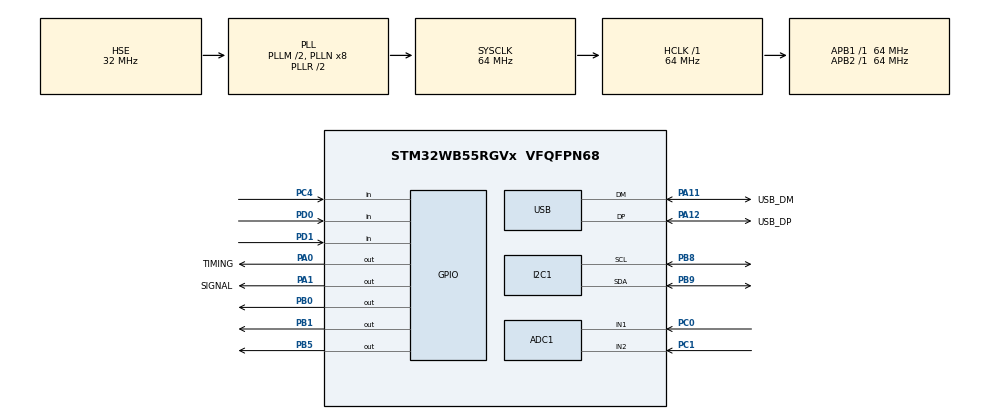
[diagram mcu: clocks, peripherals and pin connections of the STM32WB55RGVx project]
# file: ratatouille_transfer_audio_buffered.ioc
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ADC1.Channel-0\#ChannelRegularConversion=ADC_CHANNEL_1
ADC1.Channel-1\#ChannelRegularConversion=ADC_CHANNEL_2
ADC1.ClockPrescaler=ADC_CLOCK_SYNC_PCLK_DIV1
ADC1.ContinuousConvMode=ENABLE
ADC1.DMAContinuousRequests=ENABLE
ADC1.NbrOfConversion=2
ADC1.NbrOfConversionFlag=1
ADC1.OffsetNumber-0\#ChannelRegularConversion=ADC_OFFSET_NONE
ADC1.OffsetNumber-1\#ChannelRegularConversion=ADC_OFFSET_NONE
ADC1.Rank-0\#ChannelRegularConversion=1
ADC1.Rank-1\#ChannelRegularConversion=2
ADC1.SamplingTime-0\#ChannelRegularConversion=ADC_SAMPLETIME_247CYCLES_5
ADC1.SamplingTime-1\#ChannelRegularConversion=ADC_SAMPLETIME_247CYCLES_5
ADC1.master=1
Dma.ADC1.0.Direction=DMA_PERIPH_TO_MEMORY
Dma.ADC1.0.EventEnable=DISABLE
Dma.ADC1.0.Instance=DMA1_Channel1
Dma.ADC1.0.MemDataAlignment=DMA_MDATAALIGN_HALFWORD
Dma.ADC1.0.MemInc=DMA_MINC_ENABLE
Dma.ADC1.0.Mode=DMA_CIRCULAR
Dma.ADC1.0.PeriphDataAlignment=DMA_PDATAALIGN_HALFWORD
Dma.ADC1.0.PeriphInc=DMA_PINC_DISABLE
Dma.ADC1.0.Polarity=HAL_DMAMUX_REQ_GEN_RISING
Dma.ADC1.0.Priority=DMA_PRIORITY_LOW
Dma.ADC1.0.RequestNumber=1
Dma.ADC1.0.SignalID=NONE
Dma.ADC1.0.SyncEnable=DISABLE
Dma.ADC1.0.SyncPolarity=HAL_DMAMUX_SYNC_NO_EVENT
Dma.ADC1.0.SyncRequestNumber=1
Dma.ADC1.0.SyncSignalID=NONE
Dma.Request0=ADC1
I2C1.Timing=0x10B17DB5
Mcu.Family=STM32WB
Mcu.Name=STM32WB55RGVx
Mcu.Package=VFQFPN68
NUCLEO-WB55RG.BUTTON=1
NUCLEO-WB55RG.BUTTON2=1
NUCLEO-WB55RG.BUTTON3=1
NUCLEO-WB55RG.LD1=true
NUCLEO-WB55RG.LD2=true
NUCLEO-WB55RG.LD3=true
NUCLEO-WB55RG.VCP=true
NVIC.ADC1_IRQn=true\:2\:0\:true\:false\:true\:true\:true\:true
NVIC.DMA1_Channel1_IRQn=true\:0\:0\:false\:false\:true\:false\:true\:true
NVIC.EXTI0_IRQn=true\:3\:0\:true\:false\:true\:false\:true\:true
NVIC.EXTI1_IRQn=true\:3\:0\:true\:false\:true\:false\:true\:true
NVIC.EXTI4_IRQn=true\:3\:0\:true\:false\:true\:false\:true\:true
NVIC.I2C1_ER_IRQn=true\:0\:0\:false\:false\:true\:true\:true\:true
NVIC.I2C1_EV_IRQn=true\:0\:0\:false\:false\:true\:true\:true\:true
NVIC.PriorityGroup=NVIC_PRIORITYGROUP_4
NVIC.TIM2_IRQn=true\:0\:0\:false\:false\:true\:true\:true\:true
NVIC.USB_HP_IRQn=true\:0\:0\:false\:false\:true\:true\:true\:true
NVIC.USB_LP_IRQn=true\:0\:0\:false\:false\:true\:true\:true\:true
OSC_IN.GPIO_Label=RCC_OSC_IN
OSC_IN.Mode=HSE-External-Oscillator
OSC_IN.Signal=RCC_OSC_IN
OSC_OUT.GPIO_Label=RCC_OSC_OUT
OSC_OUT.Mode=HSE-External-Oscillator
OSC_OUT.Signal=RCC_OSC_OUT
PA0.GPIO_Label=TIMING
PA0.GPIO_Speed=GPIO_SPEED_FREQ_MEDIUM
PA0.Signal=GPIO_Output
PA1.GPIO_Label=SIGNAL
PA1.Signal=GPIO_Output
PA11.GPIO_Label=USB_DM
PA11.Mode=Device
PA11.Signal=USB_DM
PA12.GPIO_Label=USB_DP
PA12.Mode=Device
PA12.Signal=USB_DP
PA13.GPIO_Label=JTMS
PA13.Signal=SYS_JTMS-SWDIO
PA14.GPIO_Label=JTCK
PA14.Signal=SYS_JTCK-SWCLK
PB0.Signal=GPIO_Output
PB1.Signal=GPIO_Output
PB3.GPIO_Label=JTDO
PB3.Signal=SYS_JTDO-SWO
PB5.Signal=GPIO_Output
PB6.Signal=USART1_TX
PB7.Signal=USART1_RX
PB8.Mode=I2C
PB8.Signal=I2C1_SCL
PB9.Mode=I2C
PB9.Signal=I2C1_SDA
PC0.Signal=ADCx_IN1
PC1.Signal=ADCx_IN2
PC13.GPIO_Label=SYS_WKUP2
PC13.Signal=SYS_WKUP2
PC14-OSC32_IN.GPIO_Label=RCC_OSC32_IN
PC14-OSC32_IN.Mode=LSE-External-Oscillator
PC14-OSC32_IN.Signal=RCC_OSC32_IN
PC15-OSC32_OUT.GPIO_Label=RCC_OSC32_OUT
PC15-OSC32_OUT.Mode=LSE-External-Oscillator
PC15-OSC32_OUT.Signal=RCC_OSC32_OUT
PC4.Signal=GPIO_Input
PD0.Signal=GPIO_Input
PD1.Signal=GPIO_Input
ProjectManager.HeapSize=0x200
ProjectManager.StackSize=0x400
ProjectManager.TargetToolchain=STM32CubeIDE
RCC.ADCFreq_Value=48000000
RCC.AHB2CLKDivider=RCC_SYSCLK_DIV2
RCC.AHBFreq_Value=64000000
RCC.APB1Freq_Value=64000000
RCC.APB1TimFreq_Value=64000000
RCC.APB2Freq_Value=64000000
RCC.APB2TimFreq_Value=64000000
RCC.APB3Freq_Value=16000000
RCC.Cortex2_Div=SYSTICK_CLKSOURCE_HCLK_DIV8
RCC.CortexFreq_Value=64000000
RCC.HCLKFreq_Value=64000000
RCC.HSE_VALUE=32000000
RCC.HSI48_VALUE=48000000
RCC.HSI_VALUE=16000000
RCC.PLLM=RCC_PLLM_DIV2
RCC.PLLSAI1N=6
RCC.PLLSourceVirtual=RCC_PLLSOURCE_HSE
RCC.SMPSCLockSelection=RCC_SMPSCLKSOURCE_HSI
RCC.SMPSCLockSelectionVirtual=RCC_SMPSCLKSOURCE_HSI
RCC.SMPSCLockSelectionVirtualVirtual=RCC_SMPSCLKSOURCE_HSI
RCC.SMPSDivider=1
RCC.SYSCLKFreq_VALUE=64000000
RCC.SYSCLKSource=RCC_SYSCLKSOURCE_PLLCLK
RCC.USBFreq_Value=48000000
RCC.VCOOutputFreq_Value=128000000
SH.ADCx_IN1.0=ADC1_IN1,IN1-Single-Ended
SH.ADCx_IN2.0=ADC1_IN2,IN2-Single-Ended
TIM2.AutoReloadPreload=TIM_AUTORELOAD_PRELOAD_ENABLE
TIM2.CounterMode=TIM_COUNTERMODE_UP
TIM2.Period=2000-1
TIM2.Prescaler=0
TIM2.TIM_MasterOutputTrigger=TIM_TRGO_UPDATE
USB_DEVICE.CLASS_NAME_FS=CDC
USB_DEVICE.USBD_DEBUG_LEVEL=2
USB_DEVICE.VirtualMode=Cdc
USB_DEVICE.VirtualModeFS=Cdc_FS
VP_MEMORYMAP_VS_MEMORYMAP.Mode=CurAppReg
VP_NUCLEO-WB55RG_VS_BSP_COMMON.Mode=COMMON
VP_TIM2_VS_ClockSourceINT.Mode=Internal
VP_USB_DEVICE_VS_USB_DEVICE_CDC_FS.Mode=CDC_FS
board=NUCLEO-WB55RG

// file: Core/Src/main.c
/* USER CODE BEGIN Header */
/**
  ******************************************************************************
  * @file           : main.c
  * @brief          : Main program body
  ******************************************************************************
  * @attention
  *
  * Copyright (c) 2024 STMicroelectronics.
  * All rights reserved.
  *
  * This software is licensed under terms that can be found in the LICENSE file
  * in the root directory of this software component.
  * If no LICENSE file comes with this software, it is provided AS-IS.
  *
  ******************************************************************************
  */
/* USER CODE END Header */
#include "main.h"
#include "usb_device.h"

/* USER CODE BEGIN Includes */
#include <stdio.h>
#include <stdint.h>
#include <string.h>
#include "usbd_cdc_if.h"
#include "bmi160_wrapper.h"
/* USER CODE END Includes */

COM_InitTypeDef BspCOMInit;
ADC_HandleTypeDef hadc1;
DMA_HandleTypeDef hdma_adc1;

I2C_HandleTypeDef hi2c1;

TIM_HandleTypeDef htim2;

/* USER CODE BEGIN PV */

/* Analog */
uint16_t counter = 0;
uint16_t mic = 0;
uint16_t mic2 = 0;
uint16_t rawValues[2];
/* Analog END */

/* USB */
uint8_t message[] = "USB VCP Test\n";
uint8_t flag = 0;
char msg[50];

uint8_t USB_buffer[512];
size_t packet_length = 0;
/* USB END */
/* USER CODE END PV */

void SystemClock_Config(void);
void PeriphCommonClock_Config(void);
static void MX_GPIO_Init(void);
static void MX_DMA_Init(void);
static void MX_ADC1_Init(void);
static void MX_TIM2_Init(void);
static void MX_I2C1_Init(void);
/* USER CODE BEGIN PFP */
void update_data_packet_audio_buffered(uint16_t var1, uint8_t *buffer, size_t *length);
/* USER CODE END PFP */

/* USER CODE BEGIN 0 */
void HAL_TIM_PeriodElapsedCallback(TIM_HandleTypeDef *htim2)
  {
	HAL_GPIO_TogglePin(TIMING_GPIO_Port, TIMING_Pin);
	////this updates the X and Y axes of my joystick
	  for(uint8_t i = 0; i<hadc1.Init.NbrOfConversion; i++){
		  mic = (uint16_t) rawValues[0];
		  mic2 = mic;
	  }
	  flag = 1;

	  //HAL_GPIO_TogglePin(LED_GREEN_GPIO_Port,LED_GREEN_Pin);
  }
/* USER CODE END 0 */

int main(void)
{

  /* MCU Configuration--------------------------------------------------------*/

  /* Reset of all peripherals, Initializes the Flash interface and the Systick. */
  HAL_Init();

  /* Configure the system clock */
  SystemClock_Config();

  /* Configure the peripherals common clocks */
  PeriphCommonClock_Config();

  /* Initialize all configured peripherals */
  MX_GPIO_Init();
  MX_DMA_Init();
  MX_ADC1_Init();
  MX_TIM2_Init();
  MX_USB_Device_Init();
  MX_I2C1_Init();
  /* USER CODE BEGIN 2 */
  ////This begins the process of storing our ADC readings into the DMA. The DMA can be thought of a temporary storage location.
  HAL_ADC_Start_DMA(&hadc1, (uint32_t *) rawValues, 2);
    ////This begins our timer 2
  HAL_TIM_Base_Start_IT(&htim2);

  /* USER CODE END 2 */

  /* Initialize leds */
  BSP_LED_Init(LED_BLUE);
  BSP_LED_Init(LED_GREEN);
  BSP_LED_Init(LED_RED);

  /* Initialize USER push-button, will be used to trigger an interrupt each time it's pressed.*/
  BSP_PB_Init(BUTTON_SW1, BUTTON_MODE_EXTI);
  BSP_PB_Init(BUTTON_SW2, BUTTON_MODE_EXTI);
  BSP_PB_Init(BUTTON_SW3, BUTTON_MODE_EXTI);

  /* Initialize COM1 port (115200, 8 bits (7-bit data + 1 stop bit), no parity */
  BspCOMInit.BaudRate   = 115200;
  BspCOMInit.WordLength = COM_WORDLENGTH_8B;
  BspCOMInit.StopBits   = COM_STOPBITS_1;
  BspCOMInit.Parity     = COM_PARITY_NONE;
  BspCOMInit.HwFlowCtl  = COM_HWCONTROL_NONE;
  if (BSP_COM_Init(COM1, &BspCOMInit) != BSP_ERROR_NONE)
  {
    Error_Handler();
  }

  /* Infinite loop */
  /* USER CODE BEGIN WHILE */
  /*                                                                          ********************************************************************* */
  while (1)
  {
	  //bmi160ReadAccelGyro(&imu_t);

	  if (flag==1){

		  //HAL_GPIO_TogglePin(SIGNAL_GPIO_Port, SIGNAL_Pin);
		  //HAL_GPIO_WritePin(SIGNAL_GPIO_Port, SIGNAL_Pin,GPIO_PIN_SET);
		  if (counter == 32000){
			  counter = 0;
		  }
		  else{
			  counter++;
		  }
		  update_data_packet_audio_buffered(counter, USB_buffer, &packet_length);
		  //HAL_GPIO_WritePin(TIMING_GPIO_Port, TIMING_Pin,GPIO_PIN_RESET);
		  if (counter % 200 == 0){
			  CDC_Transmit_FS(USB_buffer, packet_length);
			  packet_length = 0;
			  BSP_LED_Toggle(LED_GREEN);

		  }

		  //HAL_GPIO_TogglePin(LED_GREEN_Port,LED_GREEN_Pin);
		  //snprintf(msg, sizeof(msg), "a: %.2f, g: %.2f", a_f32[0], g_f32[0]);
		  //CDC_Transmit_FS((uint8_t *)msg, strlen(msg));

		  flag = 0;
		  //HAL_GPIO_WritePin(SIGNAL_GPIO_Port, SIGNAL_Pin,GPIO_PIN_RESET);
	  }

	  /*HAL_GPIO_TogglePin(LED_GREEN_GPIO_Port,LED_GREEN_Pin);
	  status = CDC_Transmit_FS(message, strlen((char*)message));
	  if (status == USBD_OK) {
	      HAL_GPIO_TogglePin(LED_RED_GPIO_Port,LED_RED_Pin);
	  }
	  HAL_Delay(delay);*/

  /*                                                                          ********************************************************************* */
    /* USER CODE END WHILE */

  }
}

void SystemClock_Config(void)
{
  RCC_OscInitTypeDef RCC_OscInitStruct = {0};
  RCC_ClkInitTypeDef RCC_ClkInitStruct = {0};

  /** Configure the main internal regulator output voltage
  */
  __HAL_PWR_VOLTAGESCALING_CONFIG(PWR_REGULATOR_VOLTAGE_SCALE1);

  /** Initializes the RCC Oscillators according to the specified parameters
  * in the RCC_OscInitTypeDef structure.
  */
  RCC_OscInitStruct.OscillatorType = RCC_OSCILLATORTYPE_HSI|RCC_OSCILLATORTYPE_HSE;
  RCC_OscInitStruct.HSEState = RCC_HSE_ON;
  RCC_OscInitStruct.HSIState = RCC_HSI_ON;
  RCC_OscInitStruct.HSICalibrationValue = RCC_HSICALIBRATION_DEFAULT;
  RCC_OscInitStruct.PLL.PLLState = RCC_PLL_ON;
  RCC_OscInitStruct.PLL.PLLSource = RCC_PLLSOURCE_HSE;
  RCC_OscInitStruct.PLL.PLLM = RCC_PLLM_DIV2;
  RCC_OscInitStruct.PLL.PLLN = 8;
  RCC_OscInitStruct.PLL.PLLP = RCC_PLLP_DIV2;
  RCC_OscInitStruct.PLL.PLLR = RCC_PLLR_DIV2;
  RCC_OscInitStruct.PLL.PLLQ = RCC_PLLQ_DIV2;
  if (HAL_RCC_OscConfig(&RCC_OscInitStruct) != HAL_OK)
  {
    Error_Handler();
  }

  /** Configure the SYSCLKSource, HCLK, PCLK1 and PCLK2 clocks dividers
  */
  RCC_ClkInitStruct.ClockType = RCC_CLOCKTYPE_HCLK4|RCC_CLOCKTYPE_HCLK2
                              |RCC_CLOCKTYPE_HCLK|RCC_CLOCKTYPE_SYSCLK
                              |RCC_CLOCKTYPE_PCLK1|RCC_CLOCKTYPE_PCLK2;
  RCC_ClkInitStruct.SYSCLKSource = RCC_SYSCLKSOURCE_PLLCLK;
  RCC_ClkInitStruct.AHBCLKDivider = RCC_SYSCLK_DIV1;
  RCC_ClkInitStruct.APB1CLKDivider = RCC_HCLK_DIV1;
  RCC_ClkInitStruct.APB2CLKDivider = RCC_HCLK_DIV1;
  RCC_ClkInitStruct.AHBCLK2Divider = RCC_SYSCLK_DIV2;
  RCC_ClkInitStruct.AHBCLK4Divider = RCC_SYSCLK_DIV1;

  if (HAL_RCC_ClockConfig(&RCC_ClkInitStruct, FLASH_LATENCY_3) != HAL_OK)
  {
    Error_Handler();
  }
}

void PeriphCommonClock_Config(void)
{
  RCC_PeriphCLKInitTypeDef PeriphClkInitStruct = {0};

  /** Initializes the peripherals clock
  */
  PeriphClkInitStruct.PeriphClockSelection = RCC_PERIPHCLK_SMPS|RCC_PERIPHCLK_USB
                              |RCC_PERIPHCLK_ADC;
  PeriphClkInitStruct.PLLSAI1.PLLN = 6;
  PeriphClkInitStruct.PLLSAI1.PLLP = RCC_PLLP_DIV2;
  PeriphClkInitStruct.PLLSAI1.PLLQ = RCC_PLLQ_DIV2;
  PeriphClkInitStruct.PLLSAI1.PLLR = RCC_PLLR_DIV2;
  PeriphClkInitStruct.PLLSAI1.PLLSAI1ClockOut = RCC_PLLSAI1_USBCLK|RCC_PLLSAI1_ADCCLK;
  PeriphClkInitStruct.UsbClockSelection = RCC_USBCLKSOURCE_PLLSAI1;
  PeriphClkInitStruct.AdcClockSelection = RCC_ADCCLKSOURCE_PLLSAI1;
  PeriphClkInitStruct.SmpsClockSelection = RCC_SMPSCLKSOURCE_HSI;
  PeriphClkInitStruct.SmpsDivSelection = RCC_SMPSCLKDIV_RANGE0;

  if (HAL_RCCEx_PeriphCLKConfig(&PeriphClkInitStruct) != HAL_OK)
  {
    Error_Handler();
  }
}

static void MX_ADC1_Init(void)
{

  ADC_ChannelConfTypeDef sConfig = {0};

  /** Common config
  */
  hadc1.Instance = ADC1;
  hadc1.Init.ClockPrescaler = ADC_CLOCK_SYNC_PCLK_DIV1;
  hadc1.Init.Resolution = ADC_RESOLUTION_12B;
  hadc1.Init.DataAlign = ADC_DATAALIGN_RIGHT;
  hadc1.Init.ScanConvMode = ADC_SCAN_ENABLE;
  hadc1.Init.EOCSelection = ADC_EOC_SINGLE_CONV;
  hadc1.Init.LowPowerAutoWait = DISABLE;
  hadc1.Init.ContinuousConvMode = ENABLE;
  hadc1.Init.NbrOfConversion = 2;
  hadc1.Init.DiscontinuousConvMode = DISABLE;
  hadc1.Init.ExternalTrigConv = ADC_SOFTWARE_START;
  hadc1.Init.ExternalTrigConvEdge = ADC_EXTERNALTRIGCONVEDGE_NONE;
  hadc1.Init.DMAContinuousRequests = ENABLE;
  hadc1.Init.Overrun = ADC_OVR_DATA_PRESERVED;
  hadc1.Init.OversamplingMode = DISABLE;
  if (HAL_ADC_Init(&hadc1) != HAL_OK)
  {
    Error_Handler();
  }

  /** Configure Regular Channel
  */
  sConfig.Channel = ADC_CHANNEL_1;
  sConfig.Rank = ADC_REGULAR_RANK_1;
  sConfig.SamplingTime = ADC_SAMPLETIME_247CYCLES_5;
  sConfig.SingleDiff = ADC_SINGLE_ENDED;
  sConfig.OffsetNumber = ADC_OFFSET_NONE;
  sConfig.Offset = 0;
  if (HAL_ADC_ConfigChannel(&hadc1, &sConfig) != HAL_OK)
  {
    Error_Handler();
  }

  /** Configure Regular Channel
  */
  sConfig.Channel = ADC_CHANNEL_2;
  sConfig.Rank = ADC_REGULAR_RANK_2;
  if (HAL_ADC_ConfigChannel(&hadc1, &sConfig) != HAL_OK)
  {
    Error_Handler();
  }

}

static void MX_I2C1_Init(void)
{

  hi2c1.Instance = I2C1;
  hi2c1.Init.Timing = 0x10B17DB5;
  hi2c1.Init.OwnAddress1 = 0;
  hi2c1.Init.AddressingMode = I2C_ADDRESSINGMODE_7BIT;
  hi2c1.Init.DualAddressMode = I2C_DUALADDRESS_DISABLE;
  hi2c1.Init.OwnAddress2 = 0;
  hi2c1.Init.OwnAddress2Masks = I2C_OA2_NOMASK;
  hi2c1.Init.GeneralCallMode = I2C_GENERALCALL_DISABLE;
  hi2c1.Init.NoStretchMode = I2C_NOSTRETCH_DISABLE;
  if (HAL_I2C_Init(&hi2c1) != HAL_OK)
  {
    Error_Handler();
  }

  /** Configure Analogue filter
  */
  if (HAL_I2CEx_ConfigAnalogFilter(&hi2c1, I2C_ANALOGFILTER_ENABLE) != HAL_OK)
  {
    Error_Handler();
  }

  /** Configure Digital filter
  */
  if (HAL_I2CEx_ConfigDigitalFilter(&hi2c1, 0) != HAL_OK)
  {
    Error_Handler();
  }

}

static void MX_TIM2_Init(void)
{

  TIM_ClockConfigTypeDef sClockSourceConfig = {0};
  TIM_MasterConfigTypeDef sMasterConfig = {0};

  htim2.Instance = TIM2;
  htim2.Init.Prescaler = 0;
  htim2.Init.CounterMode = TIM_COUNTERMODE_UP;
  htim2.Init.Period = 2000-1;
  htim2.Init.ClockDivision = TIM_CLOCKDIVISION_DIV1;
  htim2.Init.AutoReloadPreload = TIM_AUTORELOAD_PRELOAD_ENABLE;
  if (HAL_TIM_Base_Init(&htim2) != HAL_OK)
  {
    Error_Handler();
  }
  sClockSourceConfig.ClockSource = TIM_CLOCKSOURCE_INTERNAL;
  if (HAL_TIM_ConfigClockSource(&htim2, &sClockSourceConfig) != HAL_OK)
  {
    Error_Handler();
  }
  sMasterConfig.MasterOutputTrigger = TIM_TRGO_UPDATE;
  sMasterConfig.MasterSlaveMode = TIM_MASTERSLAVEMODE_DISABLE;
  if (HAL_TIMEx_MasterConfigSynchronization(&htim2, &sMasterConfig) != HAL_OK)
  {
    Error_Handler();
  }

}

static void MX_DMA_Init(void)
{

  /* DMA controller clock enable */
  __HAL_RCC_DMAMUX1_CLK_ENABLE();
  __HAL_RCC_DMA1_CLK_ENABLE();

  /* DMA interrupt init */
  /* DMA1_Channel1_IRQn interrupt configuration */
  HAL_NVIC_SetPriority(DMA1_Channel1_IRQn, 0, 0);
  HAL_NVIC_EnableIRQ(DMA1_Channel1_IRQn);

}

static void MX_GPIO_Init(void)
{
  GPIO_InitTypeDef GPIO_InitStruct = {0};

  /* GPIO Ports Clock Enable */
  __HAL_RCC_GPIOC_CLK_ENABLE();
  __HAL_RCC_GPIOB_CLK_ENABLE();
  __HAL_RCC_GPIOA_CLK_ENABLE();

  /*Configure GPIO pin Output Level */
  HAL_GPIO_WritePin(GPIOA, TIMING_Pin|SIGNAL_Pin, GPIO_PIN_RESET);

  /*Configure GPIO pin : TIMING_Pin */
  GPIO_InitStruct.Pin = TIMING_Pin;
  GPIO_InitStruct.Mode = GPIO_MODE_OUTPUT_PP;
  GPIO_InitStruct.Pull = GPIO_NOPULL;
  GPIO_InitStruct.Speed = GPIO_SPEED_FREQ_MEDIUM;
  HAL_GPIO_Init(TIMING_GPIO_Port, &GPIO_InitStruct);

  /*Configure GPIO pin : SIGNAL_Pin */
  GPIO_InitStruct.Pin = SIGNAL_Pin;
  GPIO_InitStruct.Mode = GPIO_MODE_OUTPUT_PP;
  GPIO_InitStruct.Pull = GPIO_NOPULL;
  GPIO_InitStruct.Speed = GPIO_SPEED_FREQ_LOW;
  HAL_GPIO_Init(SIGNAL_GPIO_Port, &GPIO_InitStruct);

}

/* USER CODE BEGIN 4 */

void update_data_packet_audio_buffered(uint16_t var1, uint8_t *buffer, size_t *length) {
    // Define the start byte
	if (*length == 0){
		buffer[0] = (uint8_t)-128;
		(*length)++;
	}
    memcpy(&buffer[*length], &var1, sizeof(uint16_t));

    // Set the total length of the packet
    (*length) += sizeof(uint16_t);
}
/* USER CODE END 4 */

void Error_Handler(void)
{
  __disable_irq();
  while (1)
  {
  }
}
